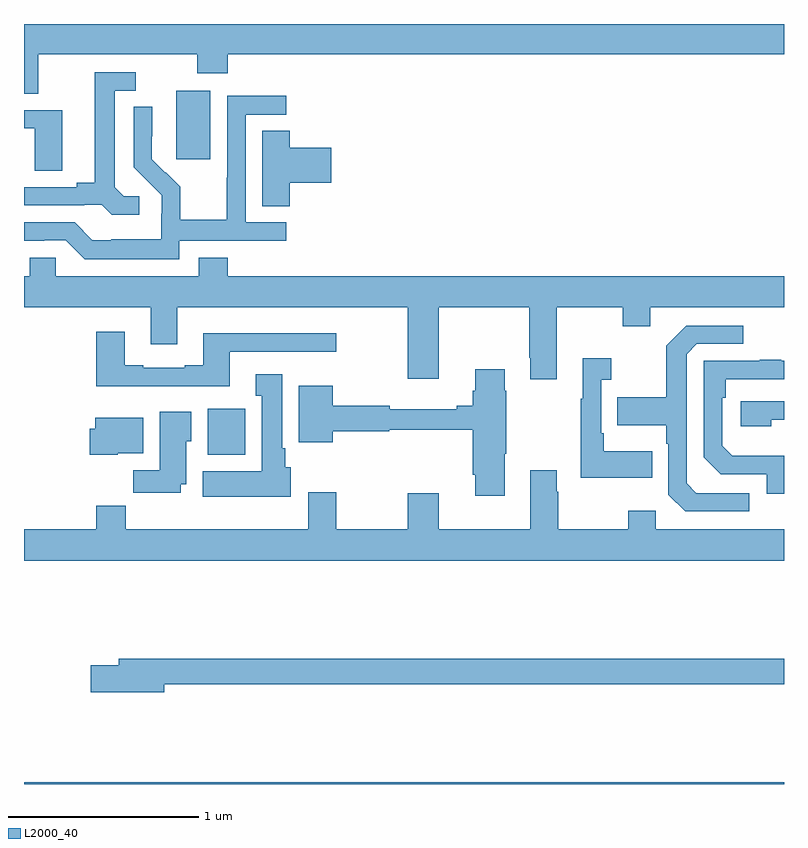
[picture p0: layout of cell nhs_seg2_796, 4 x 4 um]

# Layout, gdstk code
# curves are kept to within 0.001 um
import gdstk
lib = gdstk.Library(unit=1e-6, precision=1e-09)
def R(c, l, rs):  # rectangles x0, y0, x1, y1
    for r in rs: c.add(gdstk.rectangle(r[:2], r[2:], *l))
def P(c, l, *ps):  # polygons
    for p in ps: c.add(gdstk.Polygon(p, *l))
L2000_40 = (2000, 40)

nhs_seg2_796 = lib.new_cell('nhs_seg2_796')
R(nhs_seg2_796, L2000_40, [(151,639.8,155,639.808), (151.967,641.534,152.164,641.776), (151.802,643.089,151.981,643.45)])
P(nhs_seg2_796, L2000_40, [(151.075,643.64),(151.912,643.64),(151.912,643.541),(152.072,643.541),(152.072,643.64),(155,643.64),(155,643.8),(151,643.8),(151,643.432),(151.075,643.432)],
  [(151.606,642.894),(151.524,642.894),(151.477,642.941),(151.477,643.449),(151.588,643.449),(151.588,643.545),(151.373,643.545),(151.373,642.965),(151.277,642.965),(151.277,642.942),(151,642.942),(151,642.846),(151.316,642.846),(151.316,642.849),(151.41,642.849),(151.462,642.797),(151.606,642.797)],
  [(151.818,642.66),(152.38,642.66),(152.38,642.756),(152.166,642.756),(152.166,643.323),(152.38,643.323),(152.38,643.422),(152.07,643.422),(152.07,642.992),(152.068,642.992),(152.068,642.769),(151.823,642.769),(151.823,642.943),(151.746,643.02),(151.743,643.017),(151.673,643.088),(151.674,643.364),(151.578,643.364),(151.578,643.046),(151.724,642.898),(151.724,642.801),(151.722,642.801),(151.722,642.667),(151.459,642.667),(151.459,642.663),(151.359,642.663),(151.266,642.756),(151,642.756),(151,642.66),(151.106,642.66),(151.106,642.663),(151.221,642.663),(151.321,642.563),(151.818,642.563)],
  [(151.201,643.347),(151,643.347),(151,643.251),(151.056,643.251),(151.056,643.027),(151.201,643.027)],
  [(152.399,642.965),(152.617,642.965),(152.617,643.148),(152.399,643.148),(152.399,643.238),(152.255,643.238),(152.255,642.841),(152.399,642.841)],
  [(153.805,642.308),(154.15,642.308),(154.15,642.209),(154.297,642.209),(154.297,642.308),(155,642.308),(155,642.472),(152.072,642.472),(152.072,642.571),(151.919,642.571),(151.919,642.472),(151.167,642.472),(151.167,642.57),(151.029,642.57),(151.029,642.472),(151,642.472),(151,642.308),(151.667,642.308),(151.667,642.114),(151.807,642.114),(151.807,642.308),(153.02,642.308),(153.02,641.934),(153.184,641.934),(153.184,642.308),(153.658,642.308),(153.658,642.043),(153.665,642.043),(153.665,641.931),(153.805,641.931)],
  [(154.816,641.331),(154.539,641.331),(154.488,641.382),(154.488,642.063),(154.542,642.117),(154.786,642.117),(154.786,642.213),(154.485,642.213),(154.38,642.107),(154.38,641.835),(154.123,641.835),(154.123,641.687),(154.38,641.687),(154.38,641.591),(154.392,641.591),(154.392,641.322),(154.479,641.235),(154.816,641.235)],
  [(152.083,642.075),(152.644,642.075),(152.644,642.172),(151.943,642.172),(151.943,642.004),(151.847,642.004),(151.847,641.991),(151.627,641.991),(151.627,642.004),(151.531,642.004),(151.531,642.181),(151.379,642.181),(151.379,641.894),(152.083,641.894)],
  [(154.307,641.551),(154.051,641.551),(154.051,641.647),(154.038,641.647),(154.038,641.927),(154.09,641.927),(154.09,642.04),(153.941,642.04),(153.941,641.827),(153.93,641.827),(153.93,641.411),(154.307,641.411)],
  [(155,641.527),(154.727,641.527),(154.674,641.58),(154.674,641.834),(154.694,641.834),(154.694,641.931),(155,641.931),(155,642.027),(154.985,642.027),(154.985,642.032),(154.873,642.032),(154.873,642.027),(154.578,642.027),(154.578,641.52),(154.668,641.43),(154.908,641.43),(154.908,641.328),(155,641.328)],
  [(153.529,641.539),(153.537,641.539),(153.537,641.87),(153.529,641.87),(153.529,641.983),(153.374,641.983),(153.374,641.87),(153.362,641.87),(153.362,641.792),(153.278,641.792),(153.278,641.773),(152.924,641.773),(152.924,641.792),(152.626,641.792),(152.626,641.896),(152.447,641.896),(152.447,641.6),(152.626,641.6),(152.626,641.656),(152.922,641.656),(152.922,641.664),(153.362,641.664),(153.362,641.428),(153.374,641.428),(153.374,641.316),(153.529,641.316)],
  [(152.404,641.466),(152.374,641.466),(152.374,641.566),(152.359,641.566),(152.359,641.956),(152.219,641.956),(152.219,641.843),(152.252,641.843),(152.252,641.446),(151.94,641.446),(151.94,641.312),(152.404,641.312)],
  [(154.934,641.718),(155,641.718),(155,641.814),(154.773,641.814),(154.773,641.684),(154.934,641.684)],
  [(151.825,641.378),(151.855,641.378),(151.855,641.604),(151.879,641.604),(151.879,641.758),(151.715,641.758),(151.715,641.452),(151.576,641.452),(151.576,641.334),(151.825,641.334)],
  [(151.494,641.54),(151.627,641.54),(151.627,641.728),(151.376,641.728),(151.376,641.67),(151.346,641.67),(151.346,641.534),(151.494,641.534)],
  [(155,641.14),(154.326,641.14),(154.326,641.239),(154.18,641.239),(154.18,641.14),(153.813,641.14),(153.813,641.339),(153.805,641.339),(153.805,641.452),(153.665,641.452),(153.665,641.14),(153.184,641.14),(153.184,641.329),(153.02,641.329),(153.02,641.14),(152.643,641.14),(152.643,641.335),(152.495,641.335),(152.495,641.14),(151.535,641.14),(151.535,641.264),(151.379,641.264),(151.379,641.14),(151,641.14),(151,640.976),(155,640.976)],
  [(151.738,640.324),(155,640.324),(155,640.46),(151.499,640.46),(151.499,640.424),(151.35,640.424),(151.35,640.282),(151.738,640.282)])

lib.write_gds('nhs_seg2_796.gds')
